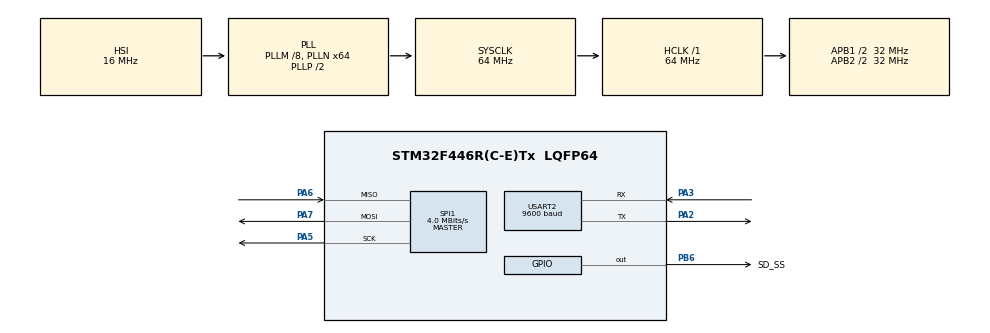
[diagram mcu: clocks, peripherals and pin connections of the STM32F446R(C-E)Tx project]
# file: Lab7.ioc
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FATFS._MAX_SS=4096
FATFS._USE_LFN=1
Mcu.Family=STM32F4
Mcu.Name=STM32F446R(C-E)Tx
Mcu.Package=LQFP64
NVIC.PriorityGroup=NVIC_PRIORITYGROUP_4
NVIC.SPI1_IRQn=true\:0\:0\:false\:false\:true\:true\:true\:true
NVIC.USART2_IRQn=true\:0\:0\:false\:false\:true\:true\:true\:true
PA13.Mode=Serial_Wire
PA13.Signal=SYS_JTMS-SWDIO
PA14.Mode=Serial_Wire
PA14.Signal=SYS_JTCK-SWCLK
PA2.Mode=Asynchronous
PA2.Signal=USART2_TX
PA3.Mode=Asynchronous
PA3.Signal=USART2_RX
PA5.Mode=Full_Duplex_Master
PA5.Signal=SPI1_SCK
PA6.Mode=Full_Duplex_Master
PA6.Signal=SPI1_MISO
PA7.Mode=Full_Duplex_Master
PA7.Signal=SPI1_MOSI
PB6.GPIO_Label=SD_SS
PB6.GPIO_Speed=GPIO_SPEED_FREQ_MEDIUM
PB6.PinState=GPIO_PIN_SET
PB6.Signal=GPIO_Output
PH0-OSC_IN.Mode=HSE-External-Clock-Source
PH0-OSC_IN.Signal=RCC_OSC_IN
PH1-OSC_OUT.Mode=HSE-External-Clock-Source
PH1-OSC_OUT.Signal=RCC_OSC_OUT
ProjectManager.HeapSize=0x200
ProjectManager.StackSize=0x400
ProjectManager.TargetToolchain=STM32CubeIDE
RCC.AHBFreq_Value=64000000
RCC.APB1CLKDivider=RCC_HCLK_DIV2
RCC.APB1Freq_Value=32000000
RCC.APB1TimFreq_Value=64000000
RCC.APB2CLKDivider=RCC_HCLK_DIV2
RCC.APB2Freq_Value=32000000
RCC.APB2TimFreq_Value=64000000
RCC.CortexFreq_Value=64000000
RCC.HCLKFreq_Value=64000000
RCC.PLLM=8
RCC.PLLN=64
RCC.SYSCLKFreq_VALUE=64000000
RCC.SYSCLKSource=RCC_SYSCLKSOURCE_PLLCLK
RCC.USBFreq_Value=64000000
RCC.VCOOutputFreq_Value=128000000
SPI1.BaudRatePrescaler=SPI_BAUDRATEPRESCALER_8
SPI1.CalculateBaudRate=4.0 MBits/s
SPI1.DataSize=SPI_DATASIZE_8BIT
SPI1.Direction=SPI_DIRECTION_2LINES
SPI1.FirstBit=SPI_FIRSTBIT_MSB
SPI1.Mode=SPI_MODE_MASTER
SPI1.VirtualType=VM_MASTER
USART2.BaudRate=9600
USART2.VirtualMode=VM_ASYNC
VP_FATFS_VS_Generic.Mode=User_defined
board=custom

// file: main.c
/* USER CODE BEGIN Header */
/**
  ******************************************************************************
  * @file           : main.c
  * @brief          : Cuerpo del programa principal
  ******************************************************************************
  * @attention
  *
  * Copyright (c) 2025 STMicroelectronics.
  * All rights reserved.
  *
  * Este software está licenciado bajo términos que se encuentran en el archivo LICENSE
  * en el directorio raíz de este componente de software.
  * Si no se incluye un archivo LICENSE, se proporciona TAL CUAL.
  *
  ******************************************************************************
  */
/* USER CODE END Header */

#include "main.h"
#include "fatfs.h"

/* USER CODE BEGIN Includes */
#include "string.h"
#include "stdio.h"
/* USER CODE END Includes */

/* USER CODE BEGIN PD */
FATFS fs;           // Sistema de archivos
FIL fil;           // Objeto de archivo
FRESULT fres;      // Resultado de operaciones FATFS
DIR dir;           // Objeto de directorio
FILINFO fno;       // Información de archivo
char buffer[100];  // Buffer para lectura
#define MAX_FILES 10 // Máximo número de archivos a mostrar
/* USER CODE END PD */

SPI_HandleTypeDef hspi1;
UART_HandleTypeDef huart2;  // Declaración del manejador UART

void SystemClock_Config(void);
void MX_GPIO_Init(void);
void MX_SPI1_Init(void);
void MX_USART2_UART_Init(void);
/* USER CODE BEGIN PFP */
void transmit_uart(char* string);         // Función para transmitir por UART
void display_menu(void);                  // Función para mostrar el menú
void read_and_display_file(char* filename); // Función para leer y mostrar archivo
/* USER CODE END PFP */

/* USER CODE BEGIN 0 */
void transmit_uart(char* string) {
    uint8_t len = strlen(string);
    HAL_UART_Transmit(&huart2, (uint8_t*) string, len, 200);
    HAL_Delay(10); // Pequeño retraso para que la terminal procese la línea
}

void display_menu(void) {
    char file_list[MAX_FILES][13]; // Lista de nombres de archivo (formato 8.3)
    uint8_t file_count = 0;        // Contador de archivos
    char menu_str[100];           // Buffer para mensajes del menú

    // Abrir directorio raíz
    fres = f_opendir(&dir, "/");
    if (fres != FR_OK) {
        transmit_uart("¡Error al abrir el directorio!\n");
        return;
    }

    // Mostrar encabezado del menú
    transmit_uart("\n=== Galeria de Arte ASCII ===\n");
    transmit_uart("Archivos disponibles:\n");

    // Leer contenido del directorio
    while (f_readdir(&dir, &fno) == FR_OK && fno.fname[0] && file_count < MAX_FILES) {
        if (!(fno.fattrib & AM_DIR)) { // Verificar que sea archivo, no directorio
            strcpy(file_list[file_count], fno.fname);
            sprintf(menu_str, "%d. %13s\n", file_count + 1, fno.fname); // Limitar a 13 caracteres
            transmit_uart(menu_str);
            file_count++;
        }
    }
    f_closedir(&dir);

    // Mostrar mensaje de selección
    transmit_uart("\nIngrese numero para seleccionar archivo (1-");
    sprintf(menu_str, "%d): ", file_count);
    transmit_uart(menu_str);

    // Obtener entrada del usuario
    char input[10];
    HAL_UART_Receive(&huart2, (uint8_t*)input, 2, HAL_MAX_DELAY);
    input[1] = '\0'; // Terminar cadena
    int choice = atoi(input);

    // Validar y mostrar archivo seleccionado
    if (choice > 0 && choice <= file_count) {
        read_and_display_file(file_list[choice-1]);
    } else {
        transmit_uart("¡Seleccion invalida!\n");
    }
}

void read_and_display_file(char* filename) {
    fres = f_open(&fil, filename, FA_READ);
    if (fres == FR_OK) {
        transmit_uart("\nMostrando Arte ASCII:\n");
        while (f_gets(buffer, sizeof(buffer), &fil)) {
            // Eliminar cualquier '\r' (retorno de carro) que pueda estar presente
            char *pos;
            if ((pos = strchr(buffer, '\r')) != NULL) {
                *pos = '\0'; // Reemplazar '\r' con terminador nulo
            }
            // Transmitir la línea
            transmit_uart(buffer);
            // Asegurarse de que haya un salto de línea
            if (buffer[strlen(buffer)-1] != '\n') {
                transmit_uart("\n");
            }
        }
        f_close(&fil);
        transmit_uart("\nFin del arte\n");
    } else {
        transmit_uart("¡Error al abrir el archivo!\n");
    }
}
/* USER CODE END 0 */

/**
  * @brief  Punto de entrada de la aplicación
  * @retval int
  */
int main(void) {
    HAL_Init();
    SystemClock_Config();
    MX_GPIO_Init();
    MX_SPI1_Init();
    MX_USART2_UART_Init();
    MX_FATFS_Init();

    HAL_Delay(500); // Esperar inicialización de la tarjeta SD

    // Montar sistema de archivos
    fres = f_mount(&fs, "/", 0);
    if (fres == FR_OK) {
        transmit_uart("¡Tarjeta Micro SD montada exitosamente!\n");
    } else {
        transmit_uart("¡Error al montar la tarjeta Micro SD!\n");
        return 0;
    }

    // Bucle principal con el menú
    while (1) {
        display_menu();
        HAL_Delay(1000); // Pequeña pausa antes de mostrar menú otra vez
    }

    // Desmontar sistema de archivos (no se alcanza por el bucle infinito)
    f_mount(NULL, "", 1);
    return 0;
}

/**
  * @brief Configuración del reloj del sistema
  * @retval None
  */
void SystemClock_Config(void) {
    RCC_OscInitTypeDef RCC_OscInitStruct = {0};
    RCC_ClkInitTypeDef RCC_ClkInitStruct = {0};

    __HAL_RCC_PWR_CLK_ENABLE();
    __HAL_PWR_VOLTAGESCALING_CONFIG(PWR_REGULATOR_VOLTAGE_SCALE3);

    RCC_OscInitStruct.OscillatorType = RCC_OSCILLATORTYPE_HSI;
    RCC_OscInitStruct.HSIState = RCC_HSI_ON;
    RCC_OscInitStruct.HSICalibrationValue = RCC_HSICALIBRATION_DEFAULT;
    RCC_OscInitStruct.PLL.PLLState = RCC_PLL_ON;
    RCC_OscInitStruct.PLL.PLLSource = RCC_PLLSOURCE_HSI;
    RCC_OscInitStruct.PLL.PLLM = 8;
    RCC_OscInitStruct.PLL.PLLN = 64;
    RCC_OscInitStruct.PLL.PLLP = RCC_PLLP_DIV2;
    RCC_OscInitStruct.PLL.PLLQ = 2;
    RCC_OscInitStruct.PLL.PLLR = 2;
    if (HAL_RCC_OscConfig(&RCC_OscInitStruct) != HAL_OK) {
        Error_Handler();
    }

    RCC_ClkInitStruct.ClockType = RCC_CLOCKTYPE_HCLK|RCC_CLOCKTYPE_SYSCLK
                                |RCC_CLOCKTYPE_PCLK1|RCC_CLOCKTYPE_PCLK2;
    RCC_ClkInitStruct.SYSCLKSource = RCC_SYSCLKSOURCE_PLLCLK;
    RCC_ClkInitStruct.AHBCLKDivider = RCC_SYSCLK_DIV1;
    RCC_ClkInitStruct.APB1CLKDivider = RCC_HCLK_DIV2;
    RCC_ClkInitStruct.APB2CLKDivider = RCC_HCLK_DIV2;

    if (HAL_RCC_ClockConfig(&RCC_ClkInitStruct, FLASH_LATENCY_2) != HAL_OK) {
        Error_Handler();
    }
}

/**
  * @brief Inicialización de SPI1
  * @retval None
  */
void MX_SPI1_Init(void) {
    hspi1.Instance = SPI1;
    hspi1.Init.Mode = SPI_MODE_MASTER;
    hspi1.Init.Direction = SPI_DIRECTION_2LINES;
    hspi1.Init.DataSize = SPI_DATASIZE_8BIT;
    hspi1.Init.CLKPolarity = SPI_POLARITY_LOW;
    hspi1.Init.CLKPhase = SPI_PHASE_1EDGE;
    hspi1.Init.NSS = SPI_NSS_SOFT;
    hspi1.Init.BaudRatePrescaler = SPI_BAUDRATEPRESCALER_8;
    hspi1.Init.FirstBit = SPI_FIRSTBIT_MSB;
    hspi1.Init.TIMode = SPI_TIMODE_DISABLE;
    hspi1.Init.CRCCalculation = SPI_CRCCALCULATION_DISABLE;
    hspi1.Init.CRCPolynomial = 10;
    if (HAL_SPI_Init(&hspi1) != HAL_OK) {
        Error_Handler();
    }
}

/**
  * @brief Inicialización de USART2
  * @retval None
  */
void MX_USART2_UART_Init(void) {
    huart2.Instance = USART2;
    huart2.Init.BaudRate = 9600;
    huart2.Init.WordLength = UART_WORDLENGTH_8B;
    huart2.Init.StopBits = UART_STOPBITS_1;
    huart2.Init.Parity = UART_PARITY_NONE;
    huart2.Init.Mode = UART_MODE_TX_RX;
    huart2.Init.HwFlowCtl = UART_HWCONTROL_NONE;
    huart2.Init.OverSampling = UART_OVERSAMPLING_16;
    if (HAL_UART_Init(&huart2) != HAL_OK) {
        Error_Handler();
    }
}

/**
  * @brief Inicialización de GPIO
  * @retval None
  */
void MX_GPIO_Init(void) {
    GPIO_InitTypeDef GPIO_InitStruct = {0};

    __HAL_RCC_GPIOH_CLK_ENABLE();
    __HAL_RCC_GPIOA_CLK_ENABLE();
    __HAL_RCC_GPIOB_CLK_ENABLE();

    HAL_GPIO_WritePin(SD_SS_GPIO_Port, SD_SS_Pin, GPIO_PIN_SET);

    GPIO_InitStruct.Pin = SD_SS_Pin;
    GPIO_InitStruct.Mode = GPIO_MODE_OUTPUT_PP;
    GPIO_InitStruct.Pull = GPIO_NOPULL;
    GPIO_InitStruct.Speed = GPIO_SPEED_FREQ_MEDIUM;
    HAL_GPIO_Init(SD_SS_GPIO_Port, &GPIO_InitStruct);
}

/**
  * @brief Función ejecutada en caso de error
  * @retval None
  */
void Error_Handler(void) {
    __disable_irq();
    while (1) {
    }
}
